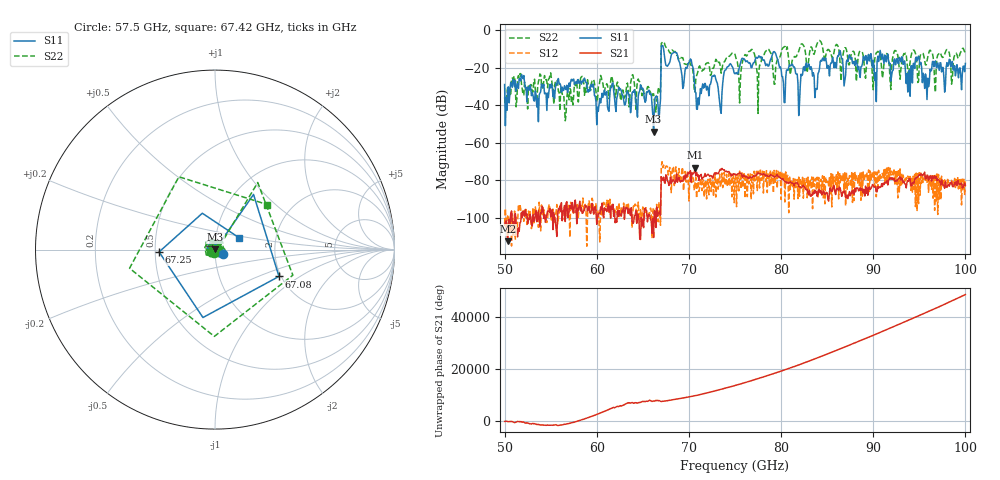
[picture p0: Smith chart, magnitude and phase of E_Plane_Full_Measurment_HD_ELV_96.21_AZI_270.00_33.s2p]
! 11/26/2026 3:32:07 PM
! C:\ANRITSUVNA\TEMP\TEMP.S2P
! CHANNEL.1
! TR.MEASUREMENT
! RAW.DATA
# HZ S RI R 50.0
! FREQ.HZ  S11RE  S11IM  S21RE  S21IM  S12RE  S12IM  S22RE  S22IM
!; PortSelection: Port_12
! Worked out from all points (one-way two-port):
!   601 points, 50 GHz to 100 GHz, reference 50 ohm
!   highest |S21| = -73.34 dB at 70.67 GHz (marker M1); lowest = -112.4 dB at 50.33 GHz (marker M2)
!   lowest |S11| = -54.2 dB at 66.17 GHz (marker M3), VSWR 1.00, Z = 50.1 + j0.142 ohm
!   |S11| at or under -10 dB: start of sweep to 67 GHz; 67.24 GHz to end of sweep
!   |S22| runs from -48.3 to -5.6 dB; largest |S21 - S12| = 0.00037
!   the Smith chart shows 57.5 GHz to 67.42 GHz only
!   S11 on the Smith chart (normalised r, x): 57.5 GHz: 1.09, -0.05; 67.08 GHz: 1.95, -0.68; 67.25 GHz: 0.52, -0.02; 67.42 GHz: 1.29, +0.18
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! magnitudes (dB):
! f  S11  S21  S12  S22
! 50 GHz  -29.0  -103.9  -103.0  -35.9
! 50.33 GHz  -31.0  -112.4  -98.3  -30.6
! 57.5 GHz  -26.2  -97.4  -96.9  -34.6
! 58.42 GHz  -27.1  -97.6  -94.4  -24.7
! 60.17 GHz  -43.2  -97.6  -95.9  -30.4
! 66.17 GHz  -54.2  -110.4  -94.4  -34.0
! 66.67 GHz  -41.5  -97.7  -102.0  -31.6
! 67.08 GHz  -8.3  -79.8  -70.1  -6.8
! 67.25 GHz  -10.1  -78.3  -71.9  -6.2
! 67.42 GHz  -16.5  -81.6  -73.6  -8.3
! 70.17 GHz  -15.4  -74.9  -75.9  -18.5
! 70.67 GHz  -33.0  -73.3  -80.9  -33.0
! 73.42 GHz  -42.4  -74.1  -83.7  -19.7
! 75 GHz  -23.3  -76.6  -77.7  -13.0
! 79.25 GHz  -11.5  -78.4  -74.7  -28.9
! 80.25 GHz  -28.0  -79.5  -79.4  -9.3
! 83.42 GHz  -24.6  -87.7  -95.1  -10.8
! 91.67 GHz  -16.8  -80.1  -73.2  -15.2
! 93.75 GHz  -33.0  -80.2  -77.8  -21.3
! 94.83 GHz  -14.9  -78.1  -76.0  -27.9
! 95.83 GHz  -37.0  -77.3  -81.6  -16.5
! 100 GHz  -17.8  -82.6  -79.3  -12.6
